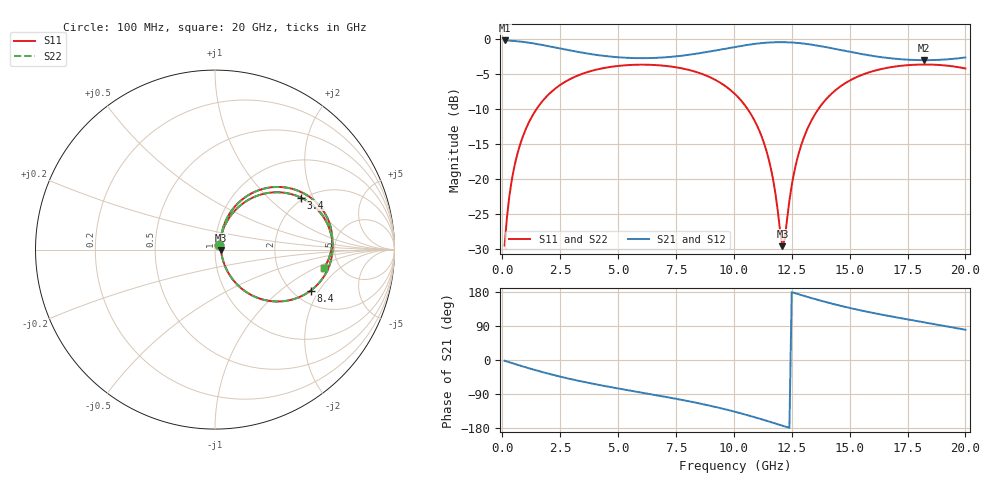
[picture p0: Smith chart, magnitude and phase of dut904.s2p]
! Touchstone file exported from HFSS 2026.1.0
!  File:  C:/ffzhzh/LocalFiles/Ansys_Project_Files/temp_train_TSV_RDL_904_1783276844_39728.aedt
!  Generated:  02:54:04 AM Jul  6, 2026
!  Design:  TSV_RDL
!  Project:  temp_train_TSV_RDL_904_1783276844_39728
! Variables:
!  h_bsmrdl = 5.53um
!  h_ox = 20um
!  h_rdl = 5um
!  h_sub = 73.67um
!  h_tmrdl = 5.05um
!  h_tsv = 73.67um
!  h_via = 3um
!  l_bsmrdl = 399.06um
!  l_sub = 4873.54um
!  l_tmrdl = 790.59um
!  m_sub = 200um
!  pitch = 59.56um
!  r_tsv = 7.42um
!  s_tmrdl = 10um
!  w_bsmrdl = 26.68um
!  w_sub = 500um
!  w_tmrdl = 11.32um
!  x_tsv_center1 = 796.25um
!  x_tsv_center2 = 1221.99um
!  x_tsv_center3 = 2023.9um
!  x_tsv_center4 = 2449.64um
!  x_tsv_center5 = 3251.55um
!  x_tsv_center6 = 3677.29um
# GHz S MA R 50.000000
! Terminal data exported
! Port[1] = TM_RDL1_1_T1
! Port[2] = TM_RDL5_1_T1
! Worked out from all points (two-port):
!   200 points, 100 MHz to 20 GHz, reference 50 ohm
!   highest |S21| = -0.21 dB at 100 MHz (marker M1); lowest = -3.0 dB at 18.2 GHz (marker M2)
!   |S21| within 3 dB of the highest: start of sweep to end of sweep
!   lowest |S11| = -29.6 dB at 12.1 GHz (marker M3), VSWR 1.07, Z = 53.4 - j0.15 ohm
!   |S11| at or under -10 dB: start of sweep to 1.479 GHz; 10.6 GHz to 13.65 GHz (3.057 GHz wide, 25.2 % of centre)
!   |S22| runs from -29.5 to -3.6 dB; largest |S21 - S12| = 1.7e-14
!   S11 on the Smith chart (normalised r, x): 100 MHz: 1.05, +0.05; 3.4 GHz: 1.94, +1.63; 8.4 GHz: 2.46, -1.69; 20 GHz: 3.76, -1.25
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0.1  0.03358 43.3  0.9761 -2.0  0.9761 -2.0  0.03358 43.3
! Gamma 0 0 0 0
! Port Impedance 50 0 50 0
0.3  0.07452 64.9  0.973 -5.9  0.973 -5.9  0.07452 64.9
0.5  0.1183 68.0  0.9681 -9.7  0.9681 -9.7  0.1183 68.0
1.1  0.2446 62.9  0.9436 -20.9  0.9436 -20.9  0.2446 62.9
2  0.402 49.9  0.8887 -36.2  0.8887 -36.2  0.402 49.9
3.4  0.5602 31.1  0.8014 -56.3  0.8014 -56.3  0.5602 31.1
3.5  0.5679 29.9  0.7962 -57.5  0.7962 -57.5  0.5679 29.9
5.1  0.6447 11.9  0.7387 -76.2  0.7387 -76.2  0.6447 11.9
6.8  0.6485 -5.6  0.7357 -94.5  0.7357 -94.5  0.6485 -5.6
8.4  0.5799 -23.2  0.7859 -113.1  0.7859 -113.1  0.5799 -23.2
10.1  0.397 -45.2  0.8806 -137.4  0.8806 -137.4  0.397 -45.2
10.8  0.2793 -54.6  0.9183 -149.2  0.9183 -149.2  0.2792 -54.6
11.4  0.1608 -60.2  0.941 -160.1  0.941 -160.1  0.1608 -60.1
11.7  0.09852 -57.9  0.9473 -165.7  0.9473 -165.7  0.09854 -57.8
12.1  0.03326 -2.4  0.9494 -173.3  0.9494 -173.3  0.03345 -2.3
12.2  0.03749 31.8  0.9488 -175.2  0.9488 -175.2  0.0377 31.7
12.7  0.1316 69.6  0.9388 175.3  0.9388 175.3  0.1317 69.6
13.4  0.271 64.8  0.9087 162.6  0.9087 162.6  0.271 64.8
14.9  0.4939 45.0  0.8165 138.8  0.8165 138.8  0.494 45.0
16.7  0.6261 24.1  0.7304 116.1  0.7304 116.1  0.6261 24.1
18.2  0.6573 8.8  0.706 99.7  0.706 99.7  0.6573 8.8
20  0.6159 -9.7  0.7379 79.7  0.7379 79.7  0.6159 -9.7
